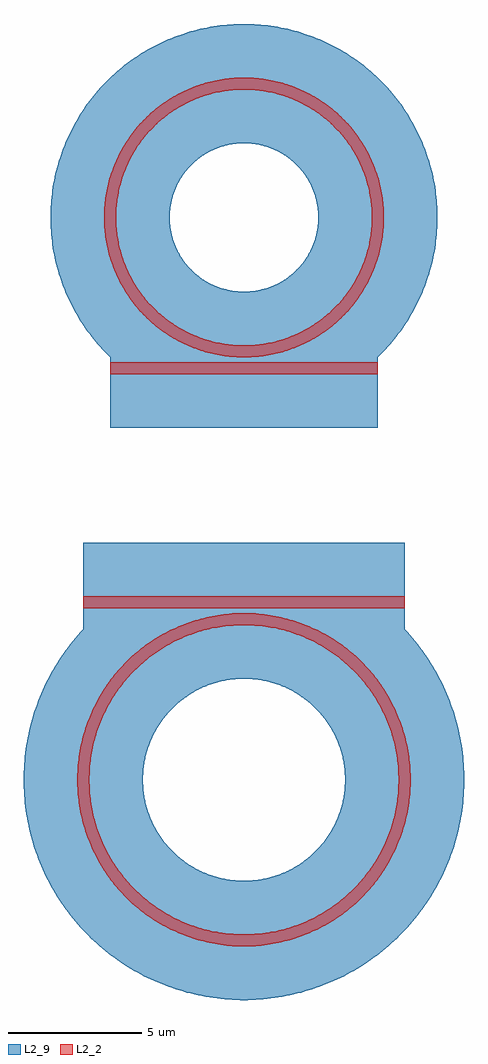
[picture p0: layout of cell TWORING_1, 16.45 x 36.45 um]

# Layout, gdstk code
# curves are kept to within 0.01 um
import gdstk
lib = gdstk.Library(unit=1e-6, precision=5e-09)
def R(c, l, rs):  # rectangles x0, y0, x1, y1
    for r in rs: c.add(gdstk.rectangle(r[:2], r[2:], *l))
def P(c, l, *ps):  # polygons
    for p in ps: c.add(gdstk.Polygon(p, *l))
L2_2 = (2, 2)
L2_9 = (2, 9)

ringres_1 = lib.new_cell('RINGRES_1')
R(ringres_1, L2_2, [(-5,-5.855,5,-5.405)])
P(ringres_1, L2_2, [(5.225,0),(5.205,0.455),(5.13,0.995),(5.025,1.44),(4.88,1.87),(4.615,2.455),(4.43,2.77),(4.175,3.145),(4.005,3.36),(3.76,3.63),(3.43,3.945),(3.145,4.175),(2.615,4.525),(2.125,4.775),(1.87,4.88),(1.44,5.025),(0.995,5.13),(0.455,5.205),(0.09,5.225),(-0.455,5.205),(-0.995,5.13),(-1.44,5.025),(-1.87,4.88),(-2.455,4.615),(-2.77,4.43),(-3.145,4.175),(-3.36,4.005),(-3.63,3.76),(-3.945,3.43),(-4.175,3.145),(-4.525,2.615),(-4.775,2.125),(-4.88,1.87),(-5.025,1.44),(-5.13,0.995),(-5.205,0.455),(-5.225,0.09),(-5.225,-0.09),(-4.775,-0.085),(-4.75,0.5),(-4.655,1.075),(-4.515,1.555),(-4.33,2.02),(-4.095,2.46),(-3.815,2.875),(-3.55,3.195),(-3.135,3.605),(-2.875,3.815),(-2.46,4.095),(-2.02,4.33),(-1.71,4.46),(-1.155,4.635),(-0.665,4.73),(-0.335,4.765),(0.085,4.775),(0.5,4.75),(1.075,4.655),(1.71,4.46),(2.02,4.33),(2.46,4.095),(2.875,3.815),(3.195,3.55),(3.55,3.195),(3.815,2.875),(4.095,2.46),(4.33,2.02),(4.515,1.555),(4.655,1.075),(4.75,0.5),(4.775,0)],
  [(-5.225,0),(-5.205,-0.455),(-5.13,-0.995),(-5.025,-1.44),(-4.88,-1.87),(-4.615,-2.455),(-4.43,-2.77),(-4.175,-3.145),(-4.005,-3.36),(-3.76,-3.63),(-3.43,-3.945),(-3.145,-4.175),(-2.615,-4.525),(-2.125,-4.775),(-1.87,-4.88),(-1.44,-5.025),(-0.995,-5.13),(-0.455,-5.205),(-0.09,-5.225),(0.455,-5.205),(0.995,-5.13),(1.44,-5.025),(1.87,-4.88),(2.455,-4.615),(2.77,-4.43),(3.145,-4.175),(3.36,-4.005),(3.63,-3.76),(3.945,-3.43),(4.175,-3.145),(4.525,-2.615),(4.775,-2.125),(4.88,-1.87),(5.025,-1.44),(5.13,-0.995),(5.205,-0.455),(5.225,-0.09),(5.225,0.09),(4.775,0.085),(4.75,-0.5),(4.655,-1.075),(4.515,-1.555),(4.33,-2.02),(4.095,-2.46),(3.815,-2.875),(3.55,-3.195),(3.135,-3.605),(2.875,-3.815),(2.46,-4.095),(2.02,-4.33),(1.71,-4.46),(1.155,-4.635),(0.665,-4.73),(0.335,-4.765),(-0.085,-4.775),(-0.5,-4.75),(-1.075,-4.655),(-1.71,-4.46),(-2.02,-4.33),(-2.46,-4.095),(-2.875,-3.815),(-3.195,-3.55),(-3.55,-3.195),(-3.815,-2.875),(-4.095,-2.46),(-4.33,-2.02),(-4.515,-1.555),(-4.655,-1.075),(-4.75,-0.5),(-4.775,0)])
P(ringres_1, L2_9, [(7.225,0),(7.2,0.63),(7.115,1.255),(6.98,1.87),(6.87,2.235),(6.7,2.705),(6.44,3.28),(6.06,3.935),(5.695,4.45),(5.455,4.74),(5.11,5.11),(4.645,5.535),(4.145,5.92),(3.505,6.32),(3.055,6.55),(2.825,6.65),(2.235,6.87),(1.625,7.04),(1.005,7.155),(0.63,7.2),(0.125,7.225),(-0.63,7.2),(-1.255,7.115),(-1.87,6.98),(-2.235,6.87),(-2.705,6.7),(-3.28,6.44),(-3.935,6.06),(-4.45,5.695),(-4.74,5.455),(-5.11,5.11),(-5.535,4.645),(-5.92,4.145),(-6.32,3.505),(-6.55,3.055),(-6.65,2.825),(-6.87,2.235),(-7.04,1.625),(-7.155,1.005),(-7.2,0.63),(-7.225,0.125),(-7.225,-0.125),(-2.775,-0.05),(-2.77,0.195),(-2.735,0.48),(-2.655,0.81),(-2.575,1.04),(-2.45,1.305),(-2.275,1.59),(-2.125,1.785),(-1.93,1.995),(-1.71,2.185),(-1.47,2.355),(-1.175,2.515),(-0.95,2.61),(-0.48,2.735),(-0.195,2.77),(0.095,2.775),(0.385,2.75),(0.625,2.705),(0.95,2.61),(1.175,2.515),(1.43,2.38),(1.59,2.275),(1.785,2.125),(1.995,1.93),(2.185,1.71),(2.355,1.47),(2.575,1.04),(2.655,0.81),(2.735,0.48),(2.77,0.195),(2.775,0)],
  [(-7.225,0),(-7.2,-0.63),(-7.115,-1.255),(-6.98,-1.87),(-6.87,-2.235),(-6.7,-2.705),(-6.44,-3.28),(-6.06,-3.935),(-5.695,-4.45),(-5.455,-4.74),(-5.11,-5.11),(-4.645,-5.535),(-4.145,-5.92),(-3.505,-6.32),(-3.055,-6.55),(-2.825,-6.65),(-2.235,-6.87),(-1.625,-7.04),(-1.005,-7.155),(-0.63,-7.2),(-0.125,-7.225),(0.63,-7.2),(1.255,-7.115),(1.87,-6.98),(2.235,-6.87),(2.705,-6.7),(3.28,-6.44),(3.935,-6.06),(4.45,-5.695),(4.74,-5.455),(5.11,-5.11),(5.535,-4.645),(5.92,-4.145),(6.32,-3.505),(6.55,-3.055),(6.65,-2.825),(6.87,-2.235),(7.04,-1.625),(7.155,-1.005),(7.2,-0.63),(7.225,-0.125),(7.225,0.125),(2.775,0.05),(2.77,-0.195),(2.735,-0.48),(2.655,-0.81),(2.575,-1.04),(2.45,-1.305),(2.275,-1.59),(2.125,-1.785),(1.93,-1.995),(1.71,-2.185),(1.47,-2.355),(1.175,-2.515),(0.95,-2.61),(0.48,-2.735),(0.195,-2.77),(-0.095,-2.775),(-0.385,-2.75),(-0.625,-2.705),(-0.95,-2.61),(-1.175,-2.515),(-1.43,-2.38),(-1.59,-2.275),(-1.785,-2.125),(-1.995,-1.93),(-2.185,-1.71),(-2.355,-1.47),(-2.575,-1.04),(-2.655,-0.81),(-2.735,-0.48),(-2.77,-0.195),(-2.775,0)],
  [(-5,-7.855),(5,-7.855),(5,-5.855),(5,-5.405),(5,-3.405),(-5,-3.405),(-5,-5.405),(-5,-5.855)])

ringres_2 = lib.new_cell('RINGRES_2')
R(ringres_2, L2_2, [(-6,-6.855,6,-6.405)])
P(ringres_2, L2_2, [(6.225,0),(6.21,0.435),(6.18,0.76),(6.09,1.295),(5.955,1.82),(5.73,2.43),(5.595,2.73),(5.28,3.3),(4.84,3.92),(4.48,4.325),(4.085,4.7),(3.57,5.1),(3.02,5.445),(2.43,5.73),(1.82,5.955),(1.295,6.09),(0.76,6.18),(0.11,6.225),(-0.435,6.21),(-0.975,6.15),(-1.61,6.015),(-2.13,5.85),(-2.73,5.595),(-3.3,5.28),(-3.92,4.84),(-4.325,4.48),(-4.7,4.085),(-5.1,3.57),(-5.445,3.02),(-5.73,2.43),(-5.955,1.82),(-6.09,1.295),(-6.18,0.76),(-6.225,0.11),(-6.225,-0.11),(-5.775,-0.1),(-5.755,0.505),(-5.705,0.905),(-5.65,1.2),(-5.525,1.69),(-5.355,2.165),(-5.235,2.44),(-5.1,2.71),(-4.845,3.145),(-4.49,3.635),(-4.225,3.94),(-3.79,4.36),(-3.23,4.79),(-2.975,4.95),(-2.44,5.235),(-1.88,5.46),(-1.495,5.58),(-0.905,5.705),(-0.505,5.755),(0.1,5.775),(0.605,5.745),(1.2,5.65),(1.69,5.525),(2.165,5.355),(2.71,5.1),(3.145,4.845),(3.635,4.49),(3.94,4.225),(4.36,3.79),(4.79,3.23),(5.1,2.71),(5.275,2.35),(5.525,1.69),(5.65,1.2),(5.745,0.605),(5.775,0)],
  [(-6.225,0),(-6.21,-0.435),(-6.18,-0.76),(-6.09,-1.295),(-5.955,-1.82),(-5.73,-2.43),(-5.595,-2.73),(-5.28,-3.3),(-4.84,-3.92),(-4.48,-4.325),(-4.085,-4.7),(-3.57,-5.1),(-3.02,-5.445),(-2.43,-5.73),(-1.82,-5.955),(-1.295,-6.09),(-0.76,-6.18),(-0.11,-6.225),(0.435,-6.21),(0.975,-6.15),(1.61,-6.015),(2.13,-5.85),(2.73,-5.595),(3.3,-5.28),(3.92,-4.84),(4.325,-4.48),(4.7,-4.085),(5.1,-3.57),(5.445,-3.02),(5.73,-2.43),(5.955,-1.82),(6.09,-1.295),(6.18,-0.76),(6.225,-0.11),(6.225,0.11),(5.775,0.1),(5.755,-0.505),(5.705,-0.905),(5.65,-1.2),(5.525,-1.69),(5.355,-2.165),(5.235,-2.44),(5.1,-2.71),(4.845,-3.145),(4.49,-3.635),(4.225,-3.94),(3.79,-4.36),(3.23,-4.79),(2.975,-4.95),(2.44,-5.235),(1.88,-5.46),(1.495,-5.58),(0.905,-5.705),(0.505,-5.755),(-0.1,-5.775),(-0.605,-5.745),(-1.2,-5.65),(-1.69,-5.525),(-2.165,-5.355),(-2.71,-5.1),(-3.145,-4.845),(-3.635,-4.49),(-3.94,-4.225),(-4.36,-3.79),(-4.79,-3.23),(-5.1,-2.71),(-5.275,-2.35),(-5.525,-1.69),(-5.65,-1.2),(-5.745,-0.605),(-5.775,0)])
P(ringres_2, L2_9, [(8.225,0),(8.195,0.715),(8.145,1.145),(8.075,1.57),(7.945,2.13),(7.825,2.54),(7.68,2.95),(7.515,3.345),(7.33,3.735),(7.125,4.115),(6.9,4.48),(6.48,5.065),(6.21,5.395),(5.915,5.715),(5.395,6.21),(4.72,6.74),(4.115,7.125),(3.735,7.33),(3.345,7.515),(2.95,7.68),(2.54,7.825),(1.85,8.015),(1.43,8.1),(1,8.165),(0.575,8.205),(0.145,8.225),(-0.145,8.225),(-0.715,8.195),(-1.43,8.1),(-2.13,7.945),(-2.54,7.825),(-2.95,7.68),(-3.345,7.515),(-3.735,7.33),(-4.115,7.125),(-4.48,6.9),(-5.065,6.48),(-5.395,6.21),(-5.715,5.915),(-6.21,5.395),(-6.74,4.72),(-7.125,4.115),(-7.33,3.735),(-7.515,3.345),(-7.68,2.95),(-7.825,2.54),(-8.015,1.85),(-8.1,1.43),(-8.165,1),(-8.205,0.575),(-8.225,0.145),(-8.225,-0.145),(-3.775,-0.065),(-3.77,0.2),(-3.72,0.655),(-3.665,0.915),(-3.525,1.355),(-3.365,1.715),(-3.13,2.11),(-2.935,2.375),(-2.67,2.67),(-2.375,2.935),(-2.11,3.13),(-1.715,3.365),(-1.355,3.525),(-0.915,3.665),(-0.655,3.72),(-0.13,3.775),(0.13,3.775),(0.525,3.74),(0.915,3.665),(1.23,3.57),(1.535,3.45),(1.885,3.27),(2.22,3.055),(2.475,2.85),(2.67,2.67),(2.935,2.375),(3.13,2.11),(3.365,1.715),(3.525,1.355),(3.665,0.915),(3.72,0.655),(3.755,0.395),(3.775,0)],
  [(-8.225,0),(-8.195,-0.715),(-8.145,-1.145),(-8.075,-1.57),(-7.945,-2.13),(-7.825,-2.54),(-7.68,-2.95),(-7.515,-3.345),(-7.33,-3.735),(-7.125,-4.115),(-6.9,-4.48),(-6.48,-5.065),(-6.21,-5.395),(-5.915,-5.715),(-5.395,-6.21),(-4.72,-6.74),(-4.115,-7.125),(-3.735,-7.33),(-3.345,-7.515),(-2.95,-7.68),(-2.54,-7.825),(-1.85,-8.015),(-1.43,-8.1),(-1,-8.165),(-0.575,-8.205),(-0.145,-8.225),(0.145,-8.225),(0.715,-8.195),(1.43,-8.1),(2.13,-7.945),(2.54,-7.825),(2.95,-7.68),(3.345,-7.515),(3.735,-7.33),(4.115,-7.125),(4.48,-6.9),(5.065,-6.48),(5.395,-6.21),(5.715,-5.915),(6.21,-5.395),(6.74,-4.72),(7.125,-4.115),(7.33,-3.735),(7.515,-3.345),(7.68,-2.95),(7.825,-2.54),(8.015,-1.85),(8.1,-1.43),(8.165,-1),(8.205,-0.575),(8.225,-0.145),(8.225,0.145),(3.775,0.065),(3.77,-0.2),(3.72,-0.655),(3.665,-0.915),(3.525,-1.355),(3.365,-1.715),(3.13,-2.11),(2.935,-2.375),(2.67,-2.67),(2.375,-2.935),(2.11,-3.13),(1.715,-3.365),(1.355,-3.525),(0.915,-3.665),(0.655,-3.72),(0.13,-3.775),(-0.13,-3.775),(-0.525,-3.74),(-0.915,-3.665),(-1.23,-3.57),(-1.535,-3.45),(-1.885,-3.27),(-2.22,-3.055),(-2.475,-2.85),(-2.67,-2.67),(-2.935,-2.375),(-3.13,-2.11),(-3.365,-1.715),(-3.525,-1.355),(-3.665,-0.915),(-3.72,-0.655),(-3.755,-0.395),(-3.775,0)],
  [(-6,-8.855),(6,-8.855),(6,-6.855),(6,-6.405),(6,-4.405),(-6,-4.405),(-6,-6.405),(-6,-6.855)])

tworing_1 = lib.new_cell('TWORING_1')
tworing_1.add(gdstk.Reference(ringres_1, (0,10)))
tworing_1.add(gdstk.Reference(ringres_2, (0,-11), x_reflection=True))

lib.write_gds('TWORING_1.gds')
